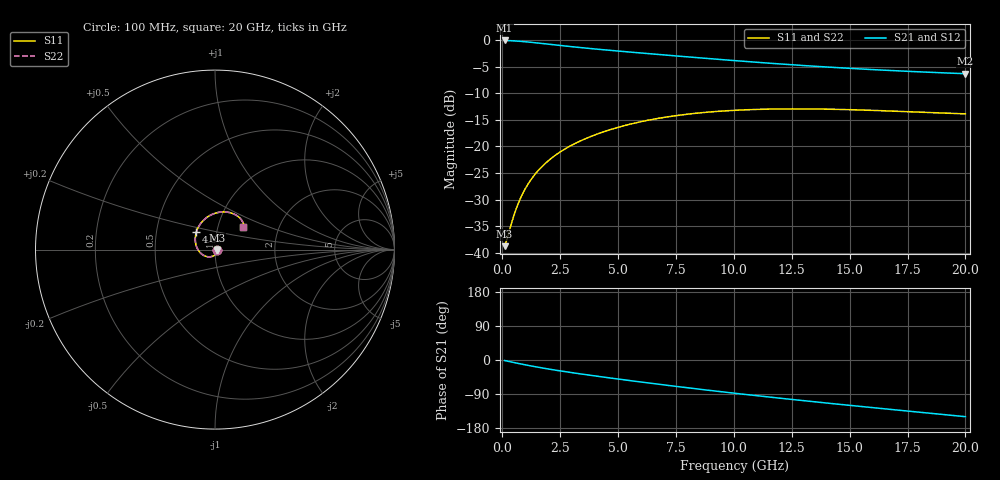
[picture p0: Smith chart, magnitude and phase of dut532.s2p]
! Touchstone file exported from HFSS 2024.1.0
!  File:  C:/UserFiles/LocalFiles/RDL_TSV_Batchsim/temp_RDL_TSV_532_1779744971.aedt
!  Generated:  05:50:53 AM May 26, 2026
!  Design:  RDL_TSV
!  Project:  temp_RDL_TSV_532_1779744971
!  Setup:  Setup1
!  Solution:  Sweep
! Variables:
!  dtsv = 12.16um
!  hbump = 3um
!  htsv = 62.21um
!  ldown = 153um
!  lrdl = 419.77um
!  p = 40
!  p1 = 40.53um
!  rhole = 10um
!  subl = 2138.08um
!  t = 450um
!  tdown = 3.16um
!  trdl = 2.79um
!  viad = 10um
!  wdown = 18.92um
!  wrdl = 28.64um
!  xbump = 18um
# GHz S MA R 50.000000
! Terminal data exported
! Port[1] = TM1_1_T1
! Port[2] = TM1_4_T1
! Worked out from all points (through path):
!   200 points, 100 MHz to 20 GHz, reference 50 ohm
!   highest |S21| = -0.10 dB at 100 MHz (marker M1); lowest = -6.3 dB at 20 GHz (marker M2)
!   group delay of S21, straight-line fit = 19.8 ps
!   lowest |S11| = -38.7 dB at 100 MHz (marker M3), VSWR 1.02, Z = 51.1 - j0.402 ohm
!   |S11| at or under -10 dB: start of sweep to end of sweep
!   |S22| runs from -38.7 to -13.0 dB; largest |S21 - S12| = 1e-14
!   S11 on the Smith chart (normalised r, x): 100 MHz: 1.02, -0.01; 4.6 GHz: 0.80, +0.16; 20 GHz: 1.32, +0.35
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0.1  0.01158 -19.9  0.9885 -1.4  0.9885 -1.4  0.01158 -19.9
! Gamma 0 0 0 0
! Port Impedance 50 0 50 0
0.2  0.01339 -37.6  0.987 -2.8  0.987 -2.8  0.01339 -37.6
0.5  0.02245 -75.2  0.9795 -6.7  0.9795 -6.7  0.02245 -75.2
0.7  0.02954 -91.9  0.9729 -9.2  0.9729 -9.2  0.02954 -91.9
0.8  0.03315 -98.9  0.9692 -10.5  0.9692 -10.5  0.03315 -98.9
1  0.04034 -111.3  0.961 -12.9  0.961 -12.9  0.04033 -111.3
1.3  0.05087 -127.0  0.9471 -16.4  0.9471 -16.4  0.05086 -127.0
1.7  0.06426 -144.7  0.9271 -20.8  0.9271 -20.8  0.06424 -144.7
2.2  0.07989 -163.4  0.9016 -25.9  0.9016 -25.9  0.07986 -163.4
2.8  0.09723 177.9  0.8727 -31.5  0.8727 -31.5  0.09718 177.9
3.5  0.1159 159.8  0.8422 -37.7  0.8422 -37.7  0.1158 159.8
4.6  0.1424 137.1  0.8002 -47.0  0.8002 -47.0  0.1422 137.1
5.7  0.1653 119.2  0.7628 -55.8  0.7628 -55.8  0.1651 119.2
6.8  0.1845 104.6  0.7283 -64.4  0.7283 -64.4  0.1842 104.6
8.4  0.2053 87.6  0.682 -76.2  0.682 -76.2  0.205 87.6
10.1  0.2187 73.4  0.6376 -88.2  0.6376 -88.2  0.2184 73.4
11.7  0.2245 62.9  0.601 -98.9  0.601 -98.9  0.2241 62.9
13.4  0.2249 54.1  0.5675 -109.8  0.5675 -109.8  0.2244 54.1
15  0.2214 47.8  0.5408 -119.7  0.5408 -119.7  0.2209 47.8
16.7  0.2153 43.0  0.517 -130.0  0.517 -130.0  0.2147 43.0
18.3  0.2086 40.1  0.4983 -139.5  0.4983 -139.5  0.2081 40.2
20  0.2022 38.7  0.4818 -149.5  0.4818 -149.5  0.2016 38.8
